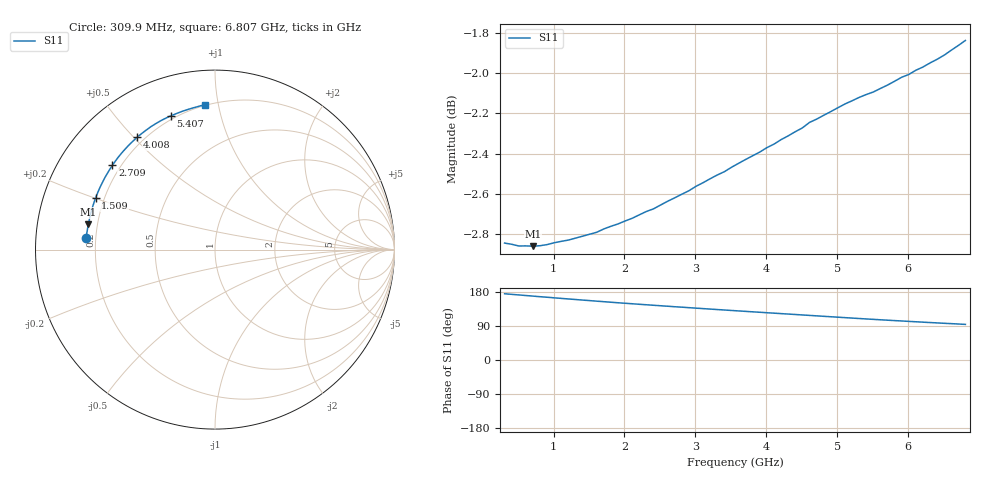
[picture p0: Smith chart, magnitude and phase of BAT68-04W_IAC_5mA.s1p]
! Infineon Technologies  Discrete & RF Semiconductors
! BAT68-04W
! IAC = 5 mA
! One-Port S-Parameters
# Hz  S  MA  R  50
!f  S11
!Hz  Mag  Ang
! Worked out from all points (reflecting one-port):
!   66 points, 309.9 MHz to 6.807 GHz, reference 50 ohm
!   lowest |S11| = -2.9 dB at 709.6 MHz (marker M1), VSWR 6.13, Z = 8.23 + j4.85 ohm
!   phase of S11 starts at 175 deg and turns -81 deg over the sweep
!   S11 on the Smith chart (normalised r, x): 309.9 MHz: 0.16, +0.04; 1.509 GHz: 0.17, +0.20; 2.709 GHz: 0.17, +0.35; 4.008 GHz: 0.17, +0.51; 5.407 GHz: 0.18, +0.71; 6.807 GHz: 0.20, +0.91
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3.0985e8  0.7208 174.8
7.0965e8  0.7196 168.6
1.0095e9  0.721 164.0
1.2094e9  0.7221 161.0
1.50925e9  0.7245 156.7
1.70915e9  0.7267 153.8
2.009e9  0.73 149.7
2.30885e9  0.734 145.7
2.6087e9  0.7382 141.9
2.70865e9  0.7397 140.6
2.8086e9  0.7412 139.4
3.0085e9  0.7446 136.8
3.2084e9  0.7478 134.4
3.6082e9  0.7544 129.5
4.008e9  0.7612 124.7
4.10795e9  0.7627 123.6
4.2079e9  0.7647 122.4
4.4078e9  0.7681 120.1
4.6077e9  0.7722 117.7
4.8076e9  0.7753 115.3
5.10745e9  0.7804 111.8
5.2074e9  0.7818 110.6
5.4073e9  0.7846 108.4
5.8071e9  0.7905 104.0
6.007e9  0.7936 101.9
6.30685e9  0.7988 98.8
6.6067e9  0.8047 95.9
6.8066e9  0.8092 94.0
